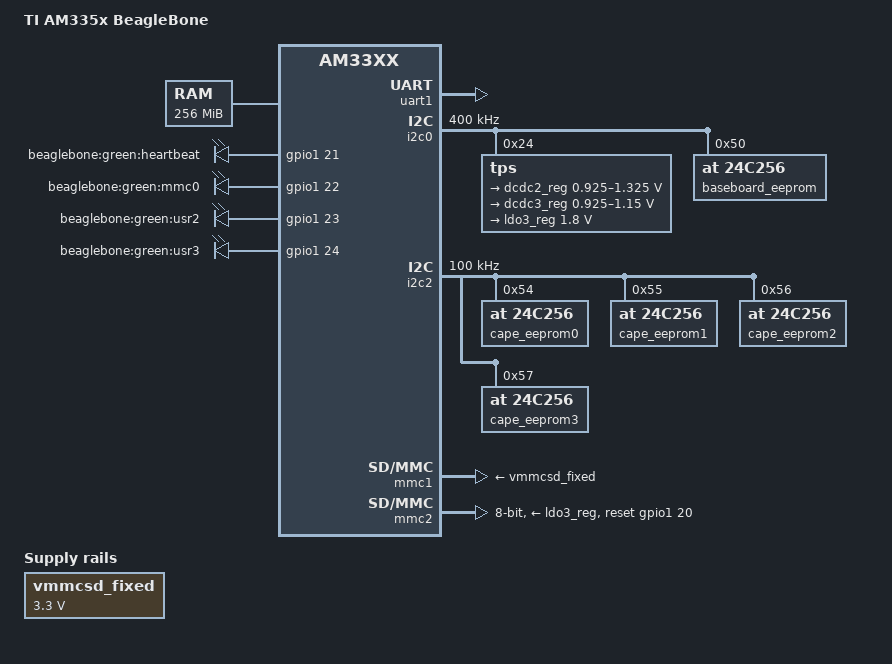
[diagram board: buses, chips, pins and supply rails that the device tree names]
/*
 * Copyright (C) 2012 Texas Instruments Incorporated - http://www.ti.com/
 *
 * This program is free software; you can redistribute it and/or modify
 * it under the terms of the GNU General Public License version 2 as
 * published by the Free Software Foundation.
 */
/dts-v1/;

/include/ "am33xx.dtsi"

/ {
	model = "TI AM335x BeagleBone";
	compatible = "ti,am335x-bone", "ti,am33xx";

	cpus {
		cpu@0 {
			cpu0-supply = <&dcdc2_reg>;

			/*
			 * To consider voltage drop between PMIC and SoC,
			 * tolerance value is reduced to 2% from 4% and
			 * voltage value is increased as a precaution.
			 */
			operating-points = <
				/* kHz    uV */
				1000000	1350000
				800000	1300000
				600000  1112000
				300000   969000
			>;
		};
	};

	memory {
		device_type = "memory";
		reg = <0x80000000 0x10000000>; /* 256 MB */
	};

	am33xx_pinmux: pinmux@44e10800 {
		pinctrl-names = "default";
		pinctrl-0 = <&user_leds_s0>;

		user_leds_s0: user_leds_s0 {
			pinctrl-single,pins = <
				0x54 0x7	/* gpmc_a5.gpio1_21, OUTPUT | MODE7 */
				0x58 0x17	/* gpmc_a6.gpio1_22, OUTPUT_PULLUP | MODE7 */
				0x5c 0x7	/* gpmc_a7.gpio1_23, OUTPUT | MODE7 */
				0x60 0x17	/* gpmc_a8.gpio1_24, OUTPUT_PULLUP | MODE7 */
			>;
		};

		emmc2_pins: pinmux_emmc2_pins {
			pinctrl-single,pins = <
				0x80 0x32	/* gpmc_csn1.mmc1_clk, INPUT_PULLUP | MODE2 */
				0x84 0x32	/* gpmc_csn2.mmc1_cmd, INPUT_PULLUP | MODE2 */
				0x00 0x31	/* gpmc_ad0.mmc1_dat0, INPUT_PULLUP | MODE1 */
				0x04 0x31	/* gpmc_ad1.mmc1_dat1, INPUT_PULLUP | MODE1 */
				0x08 0x31	/* gpmc_ad2.mmc1_dat2, INPUT_PULLUP | MODE1 */
				0x0c 0x31	/* gpmc_ad3.mmc1_dat3, INPUT_PULLUP | MODE1 */
				0x10 0x31	/* gpmc_ad4.mmc1_dat4, INPUT_PULLUP | MODE1 */
				0x14 0x31	/* gpmc_ad5.mmc1_dat5, INPUT_PULLUP | MODE1 */
				0x18 0x31	/* gpmc_ad6.mmc1_dat6, INPUT_PULLUP | MODE1 */
				0x1c 0x31	/* gpmc_ad7.mmc1_dat7, INPUT_PULLUP | MODE1 */
				/* eMMC_RSTn */
				0x50 0x17	/* gpmc_a4.gpio1_20, OUTPUT | MODE7 | PULLUP */
			>;
		};

		i2c0_pins: pinmux_i2c0_pins {
			pinctrl-single,pins = <
				0x188 0x70 	/* i2c0_sda, SLEWCTRL_SLOW | INPUT_PULLUP | MODE0 */
				0x18c 0x70	/* i2c0_scl, SLEWCTRL_SLOW | INPUT_PULLUP | MODE0 */
			>;
		};
		i2c2_pins: pinmux_i2c2_pins {
			pinctrl-single,pins = <
				0x178 0x73 	/* uart1_ctsn.i2c2_sda, SLEWCTRL_SLOW | INPUT_PULLUP | MODE3 */
				0x17c 0x73	/* uart1_rtsn.i2c2_scl, SLEWCTRL_SLOW | INPUT_PULLUP | MODE3 */
			>;
		};
	};

	ocp {
		uart1: serial@44e09000 {
			status = "okay";
		};

		i2c0: i2c@44e0b000 {
			pinctrl-names = "default";
			pinctrl-0 = <&i2c0_pins>;
			status = "okay";
			clock-frequency = <400000>;

			tps: tps@24 {
				reg = <0x24>;
			};

			baseboard_eeprom: baseboard_eeprom@50 {
				compatible = "at,24c256";
				reg = <0x50>;
			};
		};

		i2c2: i2c@4819c000 {
			pinctrl-names = "default";
			pinctrl-0 = <&i2c2_pins>;
			status = "okay";
			clock-frequency = <100000>;

			cape_eeprom0: cape_eeprom0@54 {
				compatible = "at,24c256";
				reg = <0x54>;
			};

			cape_eeprom1: cape_eeprom1@55 {
				compatible = "at,24c256";
				reg = <0x55>;
			};

			cape_eeprom2: cape_eeprom2@56 {
				compatible = "at,24c256";
				reg = <0x56>;
			};

			cape_eeprom3: cape_eeprom3@57 {
				compatible = "at,24c256";
				reg = <0x57>;
			};
		};
	};

	leds {
		compatible = "gpio-leds";

		led@2 {
			label = "beaglebone:green:heartbeat";
			gpios = <&gpio1 21 0>;
			linux,default-trigger = "heartbeat";
			default-state = "off";
		};

		led@3 {
			label = "beaglebone:green:mmc0";
			gpios = <&gpio1 22 0>;
			linux,default-trigger = "mmc0";
			default-state = "off";
		};

		led@4 {
			label = "beaglebone:green:usr2";
			gpios = <&gpio1 23 0>;
			default-state = "off";
		};

		led@5 {
			label = "beaglebone:green:usr3";
			gpios = <&gpio1 24 0>;
			default-state = "off";
		};
	};

	vmmcsd_fixed: fixedregulator@0 {
		compatible = "regulator-fixed";
		regulator-name = "vmmcsd_fixed";
		regulator-min-microvolt = <3300000>;
		regulator-max-microvolt = <3300000>;
	};

};

/include/ "tps65217.dtsi"

&tps {
	regulators {
		dcdc1_reg: regulator@0 {
			regulator-always-on;
		};

		dcdc2_reg: regulator@1 {
			/* VDD_MPU voltage limits 0.95V - 1.26V with +/-4% tolerance */
			regulator-name = "vdd_mpu";
			regulator-min-microvolt = <925000>;
			regulator-max-microvolt = <1325000>;
			regulator-boot-on;
			regulator-always-on;
		};

		dcdc3_reg: regulator@2 {
			/* VDD_CORE voltage limits 0.95V - 1.1V with +/-4% tolerance */
			regulator-name = "vdd_core";
			regulator-min-microvolt = <925000>;
			regulator-max-microvolt = <1150000>;
			regulator-boot-on;
			regulator-always-on;
		};

		ldo1_reg: regulator@3 {
			regulator-always-on;
		};

		ldo2_reg: regulator@4 {
			regulator-always-on;
		};

		ldo3_reg: regulator@5 {
			regulator-min-microvolt = <1800000>;
			regulator-max-microvolt = <1800000>;	/* orig 3.3V*/
			regulator-always-on;
		};

		ldo4_reg: regulator@6 {
			regulator-always-on;
		};
	};
};

&cpsw_emac0 {
	phy_id = <&davinci_mdio>, <0>;
};

&cpsw_emac1 {
	phy_id = <&davinci_mdio>, <1>;
};

&mmc1 {
	status = "okay";
	vmmc-supply = <&vmmcsd_fixed>;
	ti,vcc-aux-disable-is-sleep;
};

&mmc2 {
	pinctrl-names = "default";
	pinctrl-0 = <&emmc2_pins>;	/* wrong numbering */
	vmmc-supply = <&ldo3_reg>;
	bus-width = <8>;
	ti,non-removable;
	status = "okay";
	ti,vcc-aux-disable-is-sleep;

	reset-gpio = <&gpio1 20 0x00>;
};
